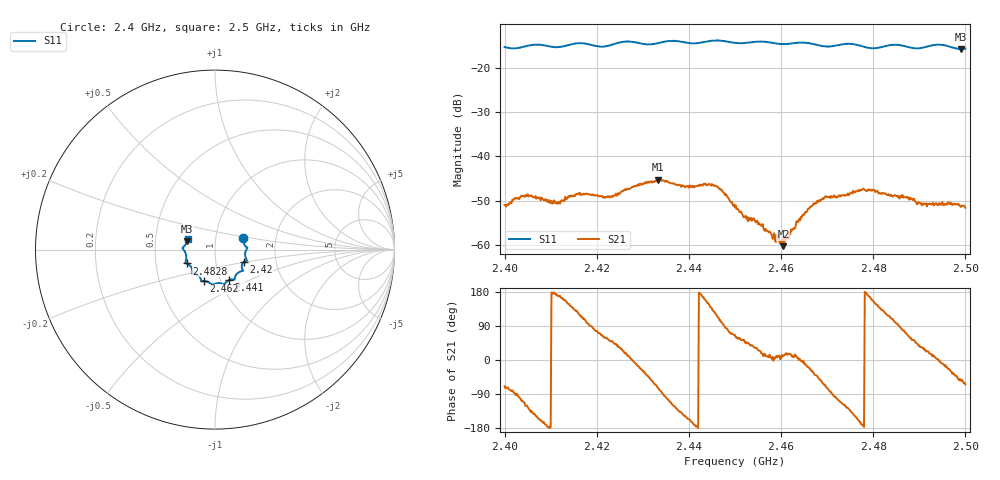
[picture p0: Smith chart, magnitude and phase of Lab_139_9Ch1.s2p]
# Hz S RI R 50
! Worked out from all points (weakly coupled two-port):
!   601 points, 2.4 GHz to 2.5 GHz, reference 50 ohm
!   highest |S21| = -45.26 dB at 2.4333 GHz (marker M1); lowest = -60.2 dB at 2.4605 GHz (marker M2)
!   lowest |S11| = -15.8 dB at 2.499 GHz (marker M3), VSWR 1.38, Z = 36.5 + j3.48 ohm
!   |S11| at or under -10 dB: start of sweep to end of sweep
!   S12 and S22 are empty: the file has one direction only
!   S11 on the Smith chart (normalised r, x): 2.4 GHz: 1.36, +0.18; 2.42 GHz: 1.36, -0.20; 2.441 GHz: 1.10, -0.39; 2.462 GHz: 0.84, -0.30; 2.4828 GHz: 0.72, -0.11; 2.5 GHz: 0.73, +0.09
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2.4e9  0.1575 0.0631  0.00102 -0.00265  0 0  0 0
2.404e9  0.1695 0.0198  -0.00119 -0.00342  0 0  0 0
2.4115e9  0.1677 -0.0222  -0.00289 0.000562  0 0  0 0
2.416667e9  0.1778 -0.0602  -0.00161 0.00339  0 0  0 0
2.42e9  0.1594 -0.0699  0.00083 0.00359  0 0  0 0
2.423333e9  0.1502 -0.1007  0.00223 0.00268  0 0  0 0
2.433333e9  0.1121 -0.1511  0.00144 -0.00527  0 0  0 0
2.441e9  0.0785 -0.1695  -0.00456 -0.000929  0 0  0 0
2.445833e9  0.0511 -0.195  -0.00241 0.00401  0 0  0 0
2.45e9  0.0284 -0.1871  0.00109 0.00244  0 0  0 0
2.452333e9  0.00501 -0.189  0.00147 0.00156  0 0  0 0
2.4605e9  -0.0461 -0.1777  0.000959 0.000195  0 0  0 0
2.462e9  -0.0604 -0.1756  0.0013 0.000359  0 0  0 0
2.466667e9  -0.078 -0.1682  0.00245 -0.00128  0 0  0 0
2.469833e9  -0.0938 -0.1446  0.00112 -0.00335  0 0  0 0
2.477667e9  -0.1262 -0.1186  -0.00422 -0.000582  0 0  0 0
2.482833e9  -0.1574 -0.0772  -0.00196 0.00319  0 0  0 0
2.483333e9  -0.1604 -0.0761  -0.00167 0.00337  0 0  0 0
2.490833e9  -0.1669 -0.0132  0.00257 0.00149  0 0  0 0
2.494333e9  -0.1805 0.00933  0.00298 -0.000179  0 0  0 0
2.499e9  -0.1545 0.0465  0.00156 -0.0022  0 0  0 0
2.5e9  -0.1515 0.0609  0.00114 -0.00239  0 0  0 0
